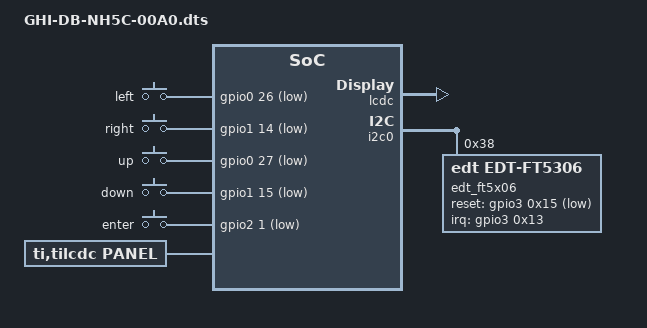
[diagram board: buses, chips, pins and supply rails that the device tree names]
/*
 * Copyright (C) 2012 Texas Instruments Incorporated - http://www.ti.com/
 * Copyright (C) 2016 GHI Electronics, LLC - http://www.ghielectronics.com/ 
 *
 * This program is free software; you can redistribute it and/or modify
 * it under the terms of the GNU General Public License version 2 as
 * published by the Free Software Foundation.
 */

/dts-v1/;
/plugin/;

#include <dt-bindings/gpio/gpio.h>
#include <dt-bindings/pinctrl/am33xx.h>
#include <dt-bindings/board/am335x-bbw-bbb-base.h>

/ {
	/*
	 * Helper to show loaded overlays under: /proc/device-tree/chosen/overlays/
	 */
	fragment@0 {
		target-path="/";
		__overlay__ {

			chosen {
				overlays {
					GHI-DB-NH5C-00A0 = __TIMESTAMP__;
				};
			};
		};
	};

	/*
	 * Free up the pins used by the cape from the pinmux helpers.
	 */
	fragment@1 {
		target = <&ocp>;
		__overlay__ {
			P8_45_pinmux { status = "disabled"; };	/* P8_45: lcd_data0.lcd_data0 */
			P8_46_pinmux { status = "disabled"; };	/* P8_46: lcd_data1.lcd_data1 */
			P8_43_pinmux { status = "disabled"; };	/* P8_43: lcd_data2.lcd_data2 */
			P8_44_pinmux { status = "disabled"; };	/* P8_44: lcd_data3.lcd_data3 */
			P8_41_pinmux { status = "disabled"; };	/* P8_41: lcd_data4.lcd_data4 */
			P8_42_pinmux { status = "disabled"; };	/* P8_42: lcd_data5.lcd_data5 */
			P8_39_pinmux { status = "disabled"; };	/* P8_39: lcd_data6.lcd_data6 */
			P8_40_pinmux { status = "disabled"; };	/* P8_40: lcd_data7.lcd_data7 */
			P8_37_pinmux { status = "disabled"; };	/* P8_37: lcd_data8.lcd_data8 */
			P8_38_pinmux { status = "disabled"; };	/* P8_38: lcd_data9.lcd_data9 */
			P8_36_pinmux { status = "disabled"; };	/* P8_36: lcd_data10.lcd_data10 */
			P8_34_pinmux { status = "disabled"; };	/* P8_34: lcd_data11.lcd_data11 */
			P8_35_pinmux { status = "disabled"; };	/* P8_35: lcd_data12.lcd_data12 */
			P8_33_pinmux { status = "disabled"; };	/* P8_33: lcd_data13.lcd_data13 */
			P8_31_pinmux { status = "disabled"; };	/* P8_31: lcd_data14.lcd_data14 */
			P8_32_pinmux { status = "disabled"; };	/* P8_32: lcd_data15.lcd_data15 */

			P8_27_pinmux { status = "disabled"; };	/* P8_27: lcd_vsync.lcd_vsync */
			P8_29_pinmux { status = "disabled"; };	/* P8_29: lcd_hsync.lcd_hsync */
			P8_28_pinmux { status = "disabled"; };	/* P8_28: lcd_pclk.lcd_pclk */
			P8_30_pinmux { status = "disabled"; };	/* P8_30: lcd_ac_bias_en.lcd_ac_bias_en */

			P8_17_pinmux { status = "disabled"; };
			P8_15_pinmux { status = "disabled"; };
			P8_14_pinmux { status = "disabled"; };
			P8_16_pinmux { status = "disabled"; };
			P8_18_pinmux { status = "disabled"; };

			P9_25_pinmux { status = "disabled"; };
			P9_27_pinmux { status = "disabled"; };
		};
	};

	fragment@2 {
		target = <&am33xx_pinmux>;
		__overlay__ {
			ghi_lcd_pins: pinmux_ghi_lcd_pins {
				pinctrl-single,pins = <
					BONE_P8_45 (PIN_OUTPUT | MUX_MODE0)	/* P8_45: lcd_data0.lcd_data0 */
					BONE_P8_46 (PIN_OUTPUT | MUX_MODE0)	/* P8_46: lcd_data1.lcd_data1 */
					BONE_P8_43 (PIN_OUTPUT | MUX_MODE0)	/* P8_43: lcd_data2.lcd_data2 */
					BONE_P8_44 (PIN_OUTPUT | MUX_MODE0)	/* P8_44: lcd_data3.lcd_data3 */
					BONE_P8_41 (PIN_OUTPUT | MUX_MODE0)	/* P8_41: lcd_data4.lcd_data4 */
					BONE_P8_42 (PIN_OUTPUT | MUX_MODE0)	/* P8_42: lcd_data5.lcd_data5 */
					BONE_P8_39 (PIN_OUTPUT | MUX_MODE0)	/* P8_39: lcd_data6.lcd_data6 */
					BONE_P8_40 (PIN_OUTPUT | MUX_MODE0)	/* P8_40: lcd_data7.lcd_data7 */
					BONE_P8_37 (PIN_OUTPUT | MUX_MODE0)	/* P8_37: lcd_data8.lcd_data8 */
					BONE_P8_38 (PIN_OUTPUT | MUX_MODE0)	/* P8_38: lcd_data9.lcd_data9 */
					BONE_P8_36 (PIN_OUTPUT | MUX_MODE0)	/* P8_36: lcd_data10.lcd_data10 */
					BONE_P8_34 (PIN_OUTPUT | MUX_MODE0)	/* P8_34: lcd_data11.lcd_data11 */
					BONE_P8_35 (PIN_OUTPUT | MUX_MODE0)	/* P8_35: lcd_data12.lcd_data12 */
					BONE_P8_33 (PIN_OUTPUT | MUX_MODE0)	/* P8_33: lcd_data13.lcd_data13 */
					BONE_P8_31 (PIN_OUTPUT | MUX_MODE0)	/* P8_31: lcd_data14.lcd_data14 */
					BONE_P8_32 (PIN_OUTPUT | MUX_MODE0)	/* P8_32: lcd_data15.lcd_data15 */

					BONE_P8_27 (PIN_OUTPUT | MUX_MODE0)	/* P8_27: lcd_vsync.lcd_vsync */
					BONE_P8_29 (PIN_OUTPUT | MUX_MODE0)	/* P8_29: lcd_hsync.lcd_hsync */
					BONE_P8_28 (PIN_OUTPUT | MUX_MODE0)	/* P8_28: lcd_pclk.lcd_pclk */
					BONE_P8_30 (PIN_OUTPUT | MUX_MODE0)	/* P8_30: lcd_ac_bias_en.lcd_ac_bias_en */
				>;
			};

			bb_lcd_keymap_pins: pinmux_bb_lcd_keymap_pins {
				pinctrl-single,pins = <
					0x2c (PIN_INPUT | MUX_MODE7)	/* P8_17: 0[27] - up    */
					0x3c (PIN_INPUT | MUX_MODE7)	/* P8_15: 1[15] - down  */
					0x28 (PIN_INPUT | MUX_MODE7)	/* P8_14: 0[26] - left  */
					0x38 (PIN_INPUT | MUX_MODE7)	/* P8_16: 1[14] - right */
					0x8c (PIN_INPUT | MUX_MODE7)	/* P8_18: 2[1] - center */
				>;
			};
			
			edt_ft5x06_pins:pinmux_edt_ft5x06_pins {
				pinctrl-single,pins = <
					0x1AC 0x17	/* P9_25 */
					0x1A4 0x37	/* P9_27 */
				>;
			};
		};
	};

	fragment@3 {
		target = <&lcdc>;
		__overlay__ {
			status = "okay";
		};
	};

	fragment@4 {
		target-path="/";
		__overlay__ {
			gpio_keys {
				compatible = "gpio-keys";
				pinctrl-names = "default";
				pinctrl-0 = <&bb_lcd_keymap_pins>;

				button@1 {
					debounce_interval = <50>;
					linux,code = <105>;
					label = "left";
					gpios = <&gpio0 26 0x1>;
					gpio-key,wakeup;
					autorepeat;
				};

				button@2 {
					debounce_interval = <50>;
					linux,code = <106>;
					label = "right";
					gpios = <&gpio1 14 0x1>;
					gpio-key,wakeup;
					autorepeat;
				};

				button@3 {
					debounce_interval = <50>;
					linux,code = <103>;
					label = "up";
					gpios = <&gpio0 27 0x1>;
					gpio-key,wakeup;
					autorepeat;
				};

				button@4 {
					debounce_interval = <50>;
					linux,code = <108>;
					label = "down";
					gpios = <&gpio1 15 0x1>;
					gpio-key,wakeup;
					autorepeat;
				};

				button@5 {
					debounce_interval = <50>;
					linux,code = <28>;
					label = "enter";
					gpios = <&gpio2 1 0x1>;
					gpio-key,wakeup;
				};
			};

			panel {
				status = "okay";
				compatible = "ti,tilcdc,panel";
				pinctrl-names = "default";
				pinctrl-0 = <&ghi_lcd_pins>;
				panel-info {
					ac-bias           = <255>;
					ac-bias-intrpt    = <0>;
					dma-burst-sz      = <16>;
					bpp               = <16>;
					fdd               = <0x80>;
					tft-alt-mode      = <0>;
					stn-565-mode      = <0>;
					mono-8bit-mode    = <0>;
					sync-edge         = <0>;
					sync-ctrl         = <1>;
					raster-order      = <0>;
					fifo-th           = <0>;
				};
				display-timings {
					native-mode = <&timing0>;
					timing0: 800x480 {
						clock-frequency = <30000000>;
						hactive = <800>;
						vactive = <480>;
						hfront-porch = <40>;
						hback-porch = <39>;
						hsync-len = <48>;
						vback-porch = <36>;
						vfront-porch = <13>;
						vsync-len = <3>;
						hsync-active = <0>;
						vsync-active  = <0>;
					};
				};
			};
		};
	};

	fragment@5 {
		target = <&i2c0>; 
		__overlay__ {
			#address-cells = <1>;
			#size-cells = <0>;

			edt_ft5x06@38 {
				status =  "okay";
				compatible = "edt,edt-ft5306","edt,edt-ft5406","edt,edt-ft5206","edt,edt-ft5x06";
				pinctrl-names="default";
				pinctrl-0=<&edt_ft5x06_pins>;
				reg = <0x38>;
				interrupt-parent = <&gpio3>;
				interrupts = <0x13 0x2>;                      
				reset-gpios = <&gpio3 0x15 1>;
				touchscreen-size-x = <800>;
				touchscreen-size-y = <480>;
			};
		};
	}; 
};
